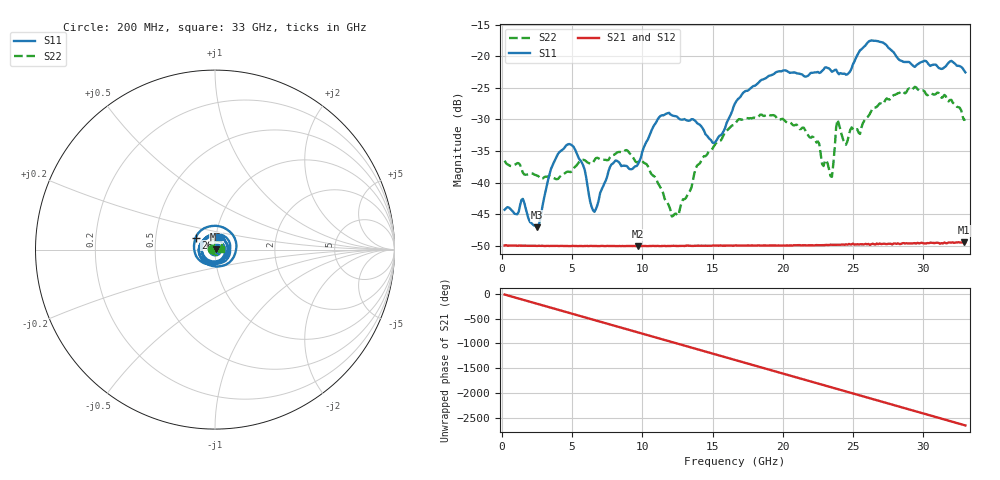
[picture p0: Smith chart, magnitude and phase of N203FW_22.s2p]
# GHZ S RI R 50
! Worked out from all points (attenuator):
!   329 points, 200 MHz to 33 GHz, reference 50 ohm
!   highest |S21| = -49.44 dB at 32.9 GHz (marker M1); lowest = -50.1 dB at 9.7 GHz (marker M2)
!   lowest |S11| = -47.1 dB at 2.5 GHz (marker M3), VSWR 1.01, Z = 50.4 + j0.233 ohm
!   |S11| at or under -10 dB: start of sweep to end of sweep
!   |S22| runs from -45.4 to -24.8 dB; largest |S21 - S12| = 8.8e-05
!   S11 on the Smith chart (normalised r, x): 200 MHz: 1.01, +0.00; 26 GHz: 0.80, +0.11; 33 GHz: 1.03, +0.15
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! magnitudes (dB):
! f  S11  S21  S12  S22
! 200 MHz  -44.3  -50.0  -49.9  -36.5
! 1.5 GHz  -42.6  -50.0  -50.0  -38.4
! 2.5 GHz  -47.1  -50.1  -50.0  -38.9
! 4 GHz  -35.5  -50.0  -50.0  -39.4
! 5.7 GHz  -36.8  -50.1  -50.0  -36.4
! 6.6 GHz  -44.6  -50.1  -50.0  -36.4
! 7.8 GHz  -37.1  -50.1  -50.1  -35.7
! 9.7 GHz  -37.1  -50.1  -50.1  -36.7
! 11.2 GHz  -29.7  -50.1  -50.0  -40.4
! 12.5 GHz  -29.6  -50.1  -50.0  -45.2
! 15.1 GHz  -33.7  -50.0  -50.0  -34.2
! 16.6 GHz  -27.5  -50.0  -50.0  -30.7
! 19.3 GHz  -22.9  -50.0  -50.0  -29.3
! 22.1 GHz  -22.6  -49.9  -49.9  -32.7
! 23.5 GHz  -22.5  -49.9  -49.8  -39.1
! 23.9 GHz  -22.6  -49.9  -49.9  -30.0
! 24.5 GHz  -22.9  -49.8  -49.8  -34.0
! 26 GHz  -17.9  -49.8  -49.7  -29.7
! 27.6 GHz  -18.8  -49.7  -49.7  -26.9
! 31.1 GHz  -21.8  -49.6  -49.4  -25.8
! 32.9 GHz  -22.2  -49.4  -49.4  -30.1
! 33 GHz  -22.5  -49.4  -49.5  -30.0
